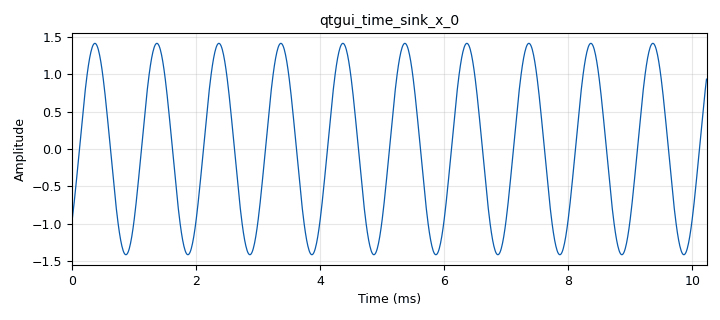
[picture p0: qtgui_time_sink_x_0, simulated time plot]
<?xml version='1.0' encoding='utf-8'?>
<?grc format='1' created='3.7.11'?>
<flow_graph>
<block>
<key>options</key>
<param><key>id</key><value>top_block</value></param>
<param><key>category</key><value>Custom</value></param>
<param><key>generate_options</key><value>qt_gui</value></param>
</block>
<block>
<key>variable</key>
<param><key>id</key><value>Freq_fondamentale</value></param>
<param><key>value</key><value>1000</value></param>
</block>
<block>
<key>variable_qtgui_range</key>
<param><key>id</key><value>a1</value></param>
<param><key>value</key><value>1</value></param>
<param><key>label</key><value>a1</value></param>
<param><key>orient</key><value>Qt.Horizontal</value></param>
<param><key>start</key><value>-2</value></param>
<param><key>step</key><value>0.1</value></param>
<param><key>stop</key><value>2</value></param>
<param><key>widget</key><value>slider</value></param>
</block>
<block>
<key>variable_qtgui_range</key>
<param><key>id</key><value>b1</value></param>
<param><key>value</key><value>1</value></param>
<param><key>label</key><value>b1</value></param>
<param><key>orient</key><value>Qt.Horizontal</value></param>
<param><key>start</key><value>-2</value></param>
<param><key>step</key><value>0.1</value></param>
<param><key>stop</key><value>2</value></param>
<param><key>widget</key><value>slider</value></param>
</block>
<block>
<key>variable</key>
<param><key>id</key><value>samp_rate</value></param>
<param><key>value</key><value>100000</value></param>
</block>
<block>
<key>analog_sig_source_x</key>
<param><key>id</key><value>analog_sig_source_x_0</value></param>
<param><key>amp</key><value>a1</value></param>
<param><key>freq</key><value>Freq_fondamentale</value></param>
<param><key>offset</key><value>0</value></param>
<param><key>type</key><value>float</value></param>
<param><key>samp_rate</key><value>samp_rate</value></param>
<param><key>waveform</key><value>analog.GR_COS_WAVE</value></param>
</block>
<block>
<key>analog_sig_source_x</key>
<param><key>id</key><value>analog_sig_source_x_0_0</value></param>
<param><key>amp</key><value>b1</value></param>
<param><key>freq</key><value>Freq_fondamentale</value></param>
<param><key>offset</key><value>0</value></param>
<param><key>type</key><value>float</value></param>
<param><key>samp_rate</key><value>samp_rate</value></param>
<param><key>waveform</key><value>analog.GR_SIN_WAVE</value></param>
</block>
<block>
<key>blocks_add_xx</key>
<param><key>id</key><value>blocks_add_xx_0</value></param>
<param><key>type</key><value>float</value></param>
</block>
<block>
<key>blocks_throttle</key>
<param><key>id</key><value>blocks_throttle_0</value></param>
<param><key>samples_per_second</key><value>samp_rate</value></param>
<param><key>type</key><value>float</value></param>
</block>
<block>
<key>blocks_throttle</key>
<param><key>id</key><value>blocks_throttle_0_0</value></param>
<param><key>samples_per_second</key><value>samp_rate</value></param>
<param><key>type</key><value>float</value></param>
</block>
<block>
<key>qtgui_time_sink_x</key>
<param><key>id</key><value>qtgui_time_sink_x_0</value></param>
<param><key>autoscale</key><value>True</value></param>
<param><key>ctrlpanel</key><value>True</value></param>
<param><key>grid</key><value>True</value></param>
<param><key>color1</key><value>"blue"</value></param>
<param><key>label1</key><value></value></param>
<param><key>size</key><value>1024</value></param>
<param><key>srate</key><value>samp_rate</value></param>
<param><key>type</key><value>float</value></param>
</block>
<connection><source_block_id>analog_sig_source_x_0</source_block_id><sink_block_id>blocks_throttle_0</sink_block_id><source_key>0</source_key><sink_key>0</sink_key></connection>
<connection><source_block_id>analog_sig_source_x_0_0</source_block_id><sink_block_id>blocks_throttle_0_0</sink_block_id><source_key>0</source_key><sink_key>0</sink_key></connection>
<connection><source_block_id>blocks_add_xx_0</source_block_id><sink_block_id>qtgui_time_sink_x_0</sink_block_id><source_key>0</source_key><sink_key>0</sink_key></connection>
<connection><source_block_id>blocks_throttle_0</source_block_id><sink_block_id>blocks_add_xx_0</sink_block_id><source_key>0</source_key><sink_key>0</sink_key></connection>
<connection><source_block_id>blocks_throttle_0_0</source_block_id><sink_block_id>blocks_add_xx_0</sink_block_id><source_key>0</source_key><sink_key>1</sink_key></connection>
</flow_graph>
